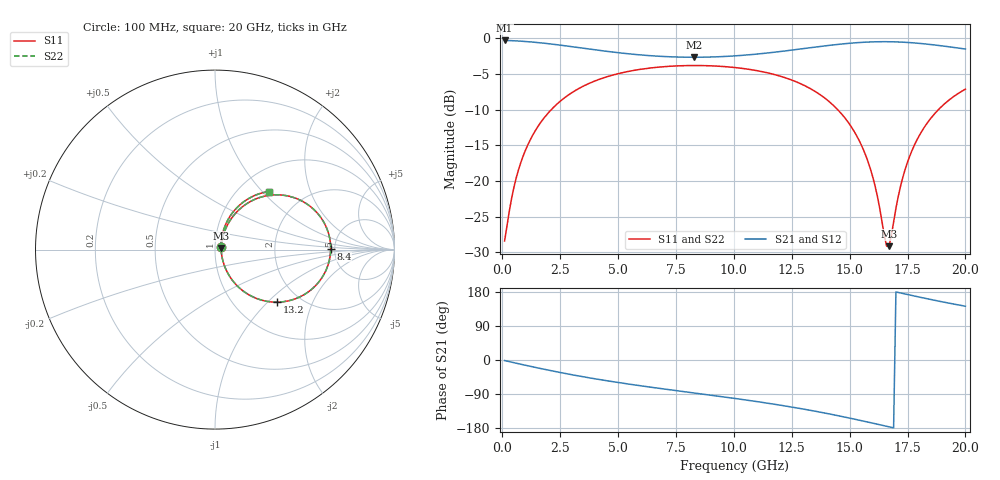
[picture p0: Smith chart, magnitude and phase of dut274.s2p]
! Touchstone file exported from HFSS 2026.1.0
!  File:  C:/ffzhzh/LocalFiles/Ansys_Project_Files/temp_train_TSV_RDL_274_1783084796_37948.aedt
!  Generated:  09:30:45 PM Jul  3, 2026
!  Design:  TSV_RDL
!  Project:  temp_train_TSV_RDL_274_1783084796_37948
! Variables:
!  h_bsmrdl = 3.61um
!  h_ox = 20um
!  h_rdl = 5um
!  h_sub = 54.85um
!  h_tmrdl = 2.11um
!  h_tsv = 54.85um
!  h_via = 3um
!  l_bsmrdl = 658.82um
!  l_sub = 3545.15um
!  l_tmrdl = 275.41um
!  m_sub = 200um
!  pitch = 48.48um
!  r_tsv = 13.02um
!  s_tmrdl = 10um
!  w_bsmrdl = 12.17um
!  w_sub = 500um
!  w_tmrdl = 10.18um
!  x_tsv_center1 = 280.5um
!  x_tsv_center2 = 951.49um
!  x_tsv_center3 = 1237.08um
!  x_tsv_center4 = 1908.07um
!  x_tsv_center5 = 2193.66um
!  x_tsv_center6 = 2864.65um
# GHz S MA R 50.000000
! Terminal data exported
! Port[1] = TM_RDL1_1_T1
! Port[2] = TM_RDL5_1_T1
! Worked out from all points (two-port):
!   200 points, 100 MHz to 20 GHz, reference 50 ohm
!   highest |S21| = -0.30 dB at 100 MHz (marker M1); lowest = -2.7 dB at 8.3 GHz (marker M2)
!   |S21| within 3 dB of the highest: start of sweep to end of sweep
!   lowest |S11| = -29.1 dB at 16.7 GHz (marker M3), VSWR 1.07, Z = 53.5 + j0.97 ohm
!   |S11| at or under -10 dB: start of sweep to 2.114 GHz; 14.49 GHz to 18.83 GHz (4.349 GHz wide, 26.1 % of centre)
!   |S22| runs from -29.1 to -3.8 dB; largest |S21 - S12| = 1.6e-14
!   S11 on the Smith chart (normalised r, x): 100 MHz: 1.07, +0.03; 8.4 GHz: 4.63, +0.08; 13.2 GHz: 1.55, -1.14; 20 GHz: 1.35, +1.08
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0.1  0.03804 24.9  0.9658 -1.4  0.9658 -1.4  0.03804 24.9
! Gamma 0 0 0 0
! Port Impedance 50 0 50 0
0.4  0.07524 56.4  0.9626 -5.7  0.9626 -5.7  0.07524 56.4
0.6  0.1049 61.4  0.959 -8.5  0.959 -8.5  0.1048 61.4
1.2  0.1933 62.3  0.9442 -16.6  0.9442 -16.6  0.1933 62.3
2.2  0.3268 54.1  0.9083 -29.4  0.9083 -29.4  0.3268 54.1
3.5  0.4621 41.3  0.8519 -44.3  0.8519 -44.3  0.4621 41.3
5.2  0.5749 25.8  0.7863 -61.2  0.7863 -61.2  0.5749 25.8
6.8  0.629 12.8  0.748 -75.0  0.748 -75.0  0.629 12.8
8.3  0.6446 1.2  0.7364 -87.2  0.7364 -87.2  0.6446 1.2
8.4  0.6446 0.4  0.7365 -88.0  0.7365 -88.0  0.6446 0.4
10.1  0.6226 -12.8  0.7541 -101.9  0.7541 -101.9  0.6226 -12.8
13.2  0.4534 -40.2  0.8547 -131.6  0.8547 -131.6  0.4534 -40.2
13.4  0.435 -42.2  0.863 -133.9  0.863 -133.9  0.435 -42.2
14.5  0.3145 -53.2  0.9066 -146.9  0.9066 -146.9  0.3145 -53.2
15.4  0.1939 -60.6  0.9338 -158.6  0.9338 -158.6  0.1939 -60.6
16  0.1067 -59.9  0.9442 -166.7  0.9442 -166.7  0.1067 -59.9
16.6  0.03496 -9.5  0.9468 -174.9  0.9468 -174.9  0.03504 -9.5
16.7  0.03495 15.0  0.9464 -176.3  0.9464 -176.3  0.03504 15.0
17.2  0.09204 63.7  0.9411 176.8  0.9411 176.8  0.09209 63.7
17.8  0.1787 66.6  0.9278 168.8  0.9278 168.8  0.1787 66.6
18.7  0.2997 59.9  0.8968 157.2  0.8968 157.2  0.2998 59.9
20  0.4403 47.3  0.8409 142.0  0.8409 142.0  0.4403 47.3
